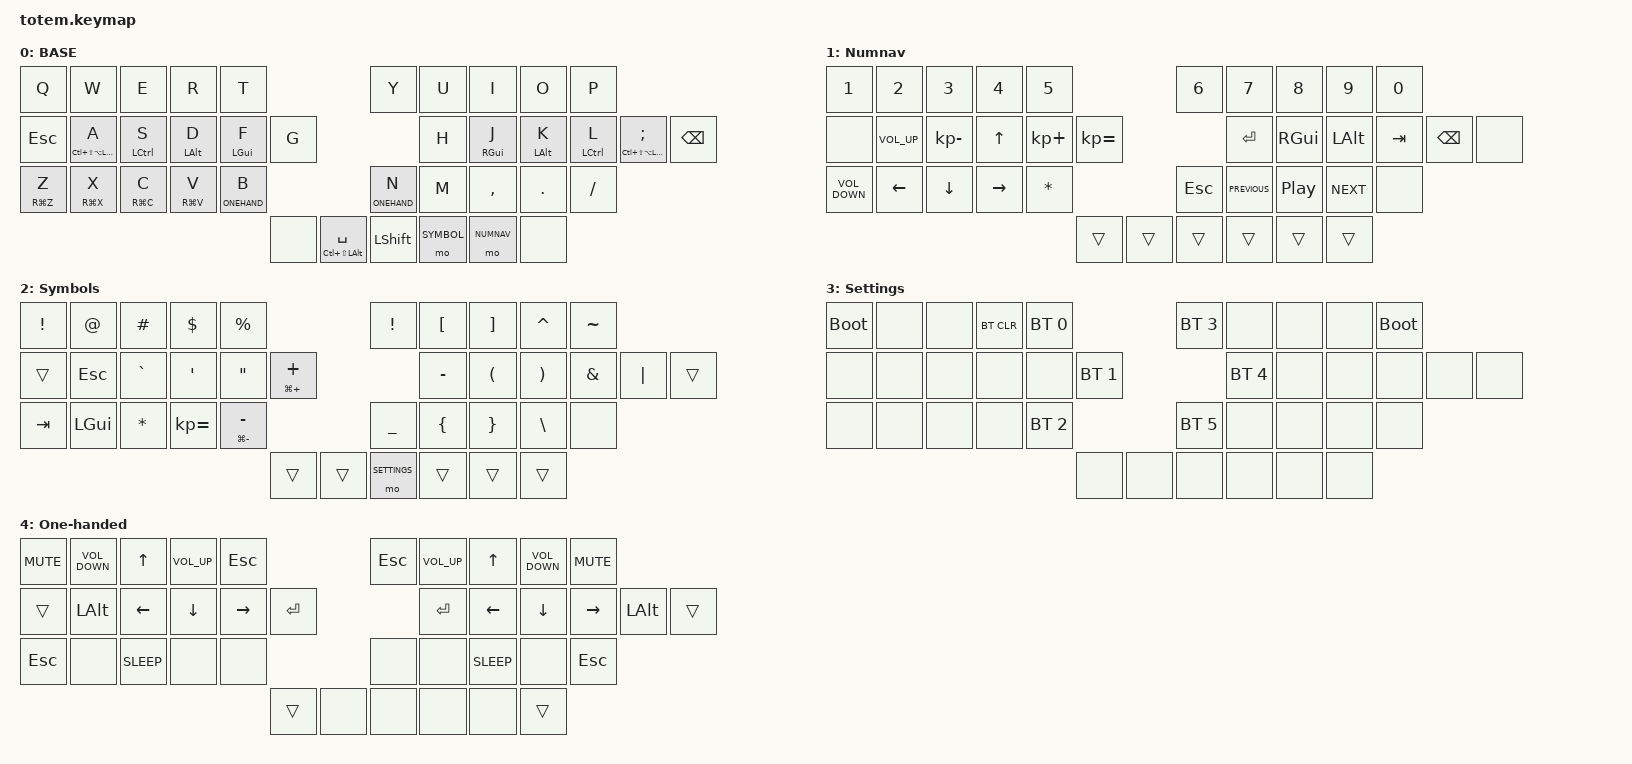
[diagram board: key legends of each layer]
//
//                                                        ▀▀▀▀▀     ▀▀▀▀▀          ▀▀█▀▀
//                                                        ▄▀▀▀▄  ▄  ▄▀▀▀▄  ▄  ▄▀▀▀▄  █  ▄▀▀▀▄
//                                                        █   █  █  █   █  █  █   █  █  █   █
//                                                         ▀▀▀   █   ▀▀▀   █   ▀▀▀   ▀   ▀▀▀
//                                                               █      ▄▄▄█▄▄▄    █   █  
//                                                               ▀      █  █  █     █▄█
//                                                             ▀▀▀▀▀    █  █  █      ▀
//                                                                      ▀  ▀  ▀
//
// ▄▄▄▄▄▄▄▄▄▄▄▄▄▄▄▄▄▄▄▄▄▄▄▄▄▄▄▄▄▄▄▄▄▄▄▄▄▄▄▄▄▄▄▄▄▄▄▄▄▄▄▄▄▄▄▄▄▄▄▄▄▄▄▄▄▄▄▄▄▄▄▄▄▄▄▄▄▄▄▄▄▄▄▄▄▄▄▄▄▄▄▄▄▄▄▄▄▄▄▄▄▄▄▄▄▄▄▄▄▄▄▄▄▄▄▄▄▄▄▄▄▄▄▄▄▄▄▄▄▄▄▄▄▄▄▄▄▄▄▄▄▄▄▄▄▄▄▄▄
       

#include <behaviors.dtsi>
#include <dt-bindings/zmk/keys.h>
#include <dt-bindings/zmk/bt.h>
#include <dt-bindings/zmk/outputs.h>

// Layer definitions
#define BASE 0
#define NUMNAV 1
#define SYMBOL 2
#define SETTINGS 3
#define ONEHAND 4


&mt {
    flavor = "tap-preferred";
    tapping_term_ms = <210>;
    quick_tap_ms = <0>;
	retro-tap;
};

/ {

        keymap {
                compatible = "zmk,keymap";
// ▄▄▄▄▄▄▄▄▄▄▄▄▄▄▄▄▄▄▄▄▄▄▄▄▄▄▄▄▄▄▄▄▄▄▄▄▄▄▄▄▄▄▄▄▄▄▄▄▄▄▄▄▄▄▄▄▄▄▄▄▄▄▄▄▄▄▄▄▄▄▄▄▄▄▄▄▄▄▄▄▄▄▄▄▄▄▄▄▄▄▄▄▄▄▄▄▄▄▄▄▄▄▄▄▄▄▄▄▄▄▄▄▄▄▄▄▄▄▄▄▄▄▄▄▄▄▄▄▄▄▄▄▄▄▄▄▄▄▄▄▄▄▄▄▄▄▄▄▄

                base_layer {
// ┏━━━━━━━━━━━━━━━━━━━━━━━━━━━━━━━━━━━━━━━┓
label= "BASE"                              ;
// ┗━━━━━━━━━━━━━━━━━━━━━━━━━━━━━━━━━━━━━━━┛

 bindings = <
					    &kp Q   &kp W   &kp E   &kp R   &kp T           &kp Y   &kp U  &kp I    &kp O   &kp P
			&kp ESCAPE &mt LC(LS(LA(LGUI))) A  &mt LEFT_CONTROL S  &mt LEFT_ALT D  &mt LEFT_GUI F &kp G           &kp H  &mt RIGHT_GUI J &mt LEFT_ALT K &mt LEFT_CONTROL L 	&mt LC(LS(LA(LGUI))) SEMICOLON &kp BACKSPACE
					    &mt RG(Z) Z &mt RG(X) X &mt RG(C) C &mt RG(V) V &lt ONEHAND B           &lt ONEHAND N  &kp M  &kp COMMA &kp DOT &kp SLASH
									&none &mt LC(LS(LALT)) SPACE &kp LSHIFT           &mo SYMBOL &mo NUMNAV &none
                        >;
                };

// ▄▄▄▄▄▄▄▄▄▄▄▄▄▄▄▄▄▄▄▄▄▄▄▄▄▄▄▄▄▄▄▄▄▄▄▄▄▄▄▄▄▄▄▄▄▄▄▄▄▄▄▄▄▄▄▄▄▄▄▄▄▄▄▄▄▄▄▄▄▄▄▄▄▄▄▄▄▄▄▄▄▄▄▄▄▄▄▄▄▄▄▄▄▄▄▄▄▄▄▄▄▄▄▄▄▄▄▄▄▄▄▄▄▄▄▄▄▄▄▄▄▄▄▄▄▄▄▄▄▄▄▄▄▄▄▄▄▄▄▄▄▄▄▄▄▄▄▄▄


                numnav_layer {
// ┏━━━━━━━━━━━━━━━━━━━━━━━━━━━━━━━━━━━━━━━┓
label= "NUMNAV"                              ;
// ┗━━━━━━━━━━━━━━━━━━━━━━━━━━━━━━━━━━━━━━━┛
						label = "Numnav";
						bindings = <
						&kp N1 &kp N2 &kp N3 &kp N4 &kp N5		                                    &kp N6 &kp N7 &kp N8 &kp N9 &kp N0
					 &none &kp C_VOLUME_UP &kp KP_MINUS &kp UP &kp KP_PLUS &kp KP_EQUAL  &kp ENTER &kp RIGHT_GUI &kp LEFT_ALT &kp TAB &kp BACKSPACE  &none
						&kp C_VOLUME_DOWN &kp LEFT &kp DOWN &kp RIGHT &kp ASTRK 	&kp ESCAPE &kp C_PREVIOUS &kp C_PLAY_PAUSE &kp C_NEXT &none
                                    &trans  &trans  &trans       &trans &trans &trans 
						>;
				};
// ▄▄▄▄▄▄▄▄▄▄▄▄▄▄▄▄▄▄▄▄▄▄▄▄▄▄▄▄▄▄▄▄▄▄▄▄▄▄▄▄▄▄▄▄▄▄▄▄▄▄▄▄▄▄▄▄▄▄▄▄▄▄▄▄▄▄▄▄▄▄▄▄▄▄▄▄▄▄▄▄▄▄▄▄▄▄▄▄▄▄▄▄▄▄▄▄▄▄▄▄▄▄▄▄▄▄▄▄▄▄▄▄▄▄▄▄▄▄▄▄▄▄▄▄▄▄▄▄▄▄▄▄▄▄▄▄▄▄▄▄▄▄▄▄▄▄▄▄▄


                sym_layer {
// ┏━━━━━━━━━━━━━━━━━━━━━━━━━━━━━━━━━━━━━━━┓
label= "Symbols"                               ;
// ┗━━━━━━━━━━━━━━━━━━━━━━━━━━━━━━━━━━━━━━━┛

        // Symbols organized by use
						bindings = <
						&kp EXCLAMATION &kp AT &kp HASH  &kp DOLLAR  &kp PERCENT    			        &kp EXCL  &kp LEFT_BRACKET &kp RIGHT_BRACKET &kp CARET &kp TILDE
						&trans  &kp ESCAPE &kp GRAVE  &kp APOSTROPHE  &kp DOUBLE_QUOTES  &mt LG(PLUS) PLUS 			&kp MINUS &kp LEFT_PARENTHESIS  &kp RIGHT_PARENTHESIS  &kp AMPERSAND   &kp PIPE &trans 
						&kp TAB  &kp LEFT_GUI &kp ASTERISK &kp KP_EQUAL  &mt LG(MINUS) MINUS       &kp UNDERSCORE &kp LEFT_BRACE &kp RIGHT_BRACE &kp BACKSLASH  &none
																					&trans &trans &mo SETTINGS    &trans  &trans &trans 
						>;
				};


// ▄▄▄▄▄▄▄▄▄▄▄▄▄▄▄▄▄▄▄▄▄▄▄▄▄▄▄▄▄▄▄▄▄▄▄▄▄▄▄▄▄▄▄▄▄▄▄▄▄▄▄▄▄▄▄▄▄▄▄▄▄▄▄▄▄▄▄▄▄▄▄▄▄▄▄▄▄▄▄▄▄▄▄▄▄▄▄▄▄▄▄▄▄▄▄▄▄▄▄▄▄▄▄▄▄▄▄▄▄▄▄▄▄▄▄▄▄▄▄▄▄▄▄▄▄▄▄▄▄▄▄▄▄▄▄▄▄▄▄▄▄▄▄▄▄▄▄▄▄


        // Used to change the keyboard's settings
				settings_layer {
						label = "Settings";
						bindings = <
						&bootloader &none &none &bt BT_CLR &bt BT_SEL 0               &bt BT_SEL 3 &none &none &none &bootloader
						&none &none &none &none &none      &bt BT_SEL 1 						  &bt BT_SEL 4 &none &none &none &none &none
						&none &none &none &none      &bt BT_SEL 2               &bt BT_SEL 5 &none &none &none &none
															&none &none &none                         &none &none &none
						>;
				};

// ▄▄▄▄▄▄▄▄▄▄▄▄▄▄▄▄▄▄▄▄▄▄▄▄▄▄▄▄▄▄▄▄▄▄▄▄▄▄▄▄▄▄▄▄▄▄▄▄▄▄▄▄▄▄▄▄▄▄▄▄▄▄▄▄▄▄▄▄▄▄▄▄▄▄▄▄▄▄▄▄▄▄▄▄▄▄▄▄▄▄▄▄▄▄▄▄▄▄▄▄▄▄▄▄▄▄▄▄▄▄▄▄▄▄▄▄▄▄▄▄▄▄▄▄▄▄▄▄▄▄▄▄▄▄▄▄▄▄▄▄▄▄▄▄▄▄▄▄▄

				onehanded_layer {
						label = "One-handed";
						bindings = <
						&kp C_MUTE  &kp C_VOLUME_DOWN &kp UP &kp C_VOLUME_UP &kp ESCAPE              &kp ESCAPE &kp C_VOLUME_UP &kp UP &kp C_VOLUME_DOWN  &kp C_MUTE
						&trans  &kp LEFT_ALT &kp LEFT  &kp DOWN &kp RIGHT  &kp ENTER			    &kp ENTER &kp LEFT &kp DOWN &kp RIGHT &kp LEFT_ALT &trans 
						&kp ESCAPE &none &kp C_SLEEP &none &none               &none &none &kp C_SLEEP &none &kp ESCAPE
															&trans &none &none                         &none &none &trans 
						>;
				};

// ▄▄▄▄▄▄▄▄▄▄▄▄▄▄▄▄▄▄▄▄▄▄▄▄▄▄▄▄▄▄▄▄▄▄▄▄▄▄▄▄▄▄▄▄▄▄▄▄▄▄▄▄▄▄▄▄▄▄▄▄▄▄▄▄▄▄▄▄▄▄▄▄▄▄▄▄▄▄▄▄▄▄▄▄▄▄▄▄▄▄▄▄▄▄▄▄▄▄▄▄▄▄▄▄▄▄▄▄▄▄▄▄▄▄▄▄▄▄▄▄▄▄▄▄▄▄▄▄▄▄▄▄▄▄▄▄▄▄▄▄▄▄▄▄▄▄▄▄▄

    };
};
